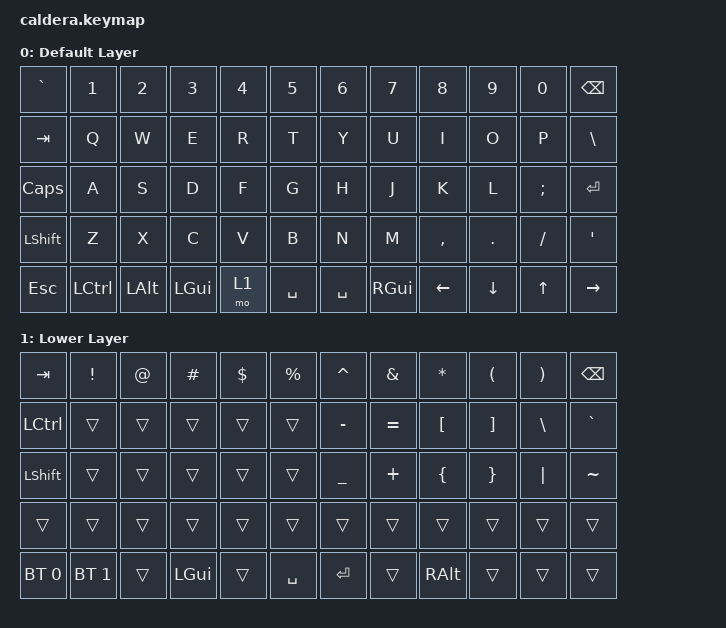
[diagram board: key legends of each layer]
/*
 * Copyright (c) 2020 The ZMK Contributors
 *
 * SPDX-License-Identifier: MIT
 */

#include <behaviors.dtsi>
#include <dt-bindings/zmk/keys.h>
#include <dt-bindings/zmk/bt.h>

/ {
        keymap {
                compatible = "zmk,keymap";

                default_layer {
                        display-name = "Default Layer";
// -----------------------------------------------------------------------------------------
// |   `  |  1  |  2  |  3  |  4  |  5  |    |  6  |  7  |  8  |  9  |  0  | BSPC |
// |  TAB |  Q  |  W  |  E  |  R  |  T  |    |  Y  |  U  |  I  |  O  |  P  |  \   |
// | CAPS |  A  |  S  |  D  |  F  |  G  |    |  H  |  J  |  K  |  L  |  ;  |  ENT |
// | SHFT |  Z  |  X  |  C  |  V  |  B  |    |  N  |  M  |  ,  |  .  |  /  | APOS |
// | ESC  | CTRL| ALT | GUI | LOW | SPC |    | SPC | GUI |LEFT |DOWN |UP   | RIGHT|
                        bindings = <
   &kp GRAVE  &kp N1 &kp N2        &kp N3     &kp N4     &kp N5     &kp N6     &kp N7    &kp N8     &kp N9    &kp N0    &kp BSPC
   &kp TAB    &kp Q  &kp W         &kp E      &kp R      &kp T      &kp Y      &kp U     &kp I      &kp O     &kp P     &kp BSLH
   &kp CAPS   &kp A     &kp S      &kp D      &kp F      &kp G      &kp H      &kp J     &kp K      &kp L     &kp SEMI  &kp RET
   &kp LSHFT  &kp Z     &kp X      &kp C      &kp V      &kp B      &kp N      &kp M     &kp COMMA  &kp DOT   &kp FSLH  &kp APOS
   &kp ESC    &kp LCTRL &kp LALT   &kp LGUI   &mo 1      &kp SPACE  &kp SPACE  &kp RGUI  &kp LEFT   &kp DOWN  &kp UP    &kp RIGHT
                        >;
                };
                lower_layer {
                        display-name = "Lower Layer";
// -----------------------------------------------------------------------------------------
// |  TAB |  !  |  @  |  #  |  $  |  %  |   |  ^  |  &  |  *  |  (  |  )  | BSPC |
// | CTRL |     |     |     |     |     |   |  -  |  =  |  [  |  ]  |  \  |  `   |
// | SHFT |     |     |     |     |     |   |  _  |  +  |  {  |  }  | "|" |  ~   |
// |      |     |     |     |     |     |   |     |     |     |     |     |      |
// |  BT0 | BT1 |     | GUI |     | SPC |   | ENT |     | ALT |
                        bindings = <
   &kp  TAB  &kp EXCL &kp AT &kp HASH &kp DLLR &kp PRCNT   &kp CARET &kp AMPS  &kp ASTRK &kp LPAR &kp RPAR &kp BSPC
   &kp LCTRL &trans   &trans &trans   &trans   &trans      &kp MINUS &kp EQUAL &kp LBKT  &kp RBKT &kp BSLH &kp GRAVE
   &kp LSHFT &trans   &trans &trans   &trans   &trans      &kp UNDER &kp PLUS  &kp LBRC  &kp RBRC &kp PIPE &kp TILDE
   &trans    &trans   &trans &trans   &trans   &trans      &trans    &trans    &trans    &trans   &trans   &trans
   &bt BT_SEL 0 &bt BT_SEL 1   &trans &kp LGUI &trans   &kp SPACE   &kp RET   &trans    &kp RALT  &trans   &trans   &trans
                        >;
                };
                
        };
};
